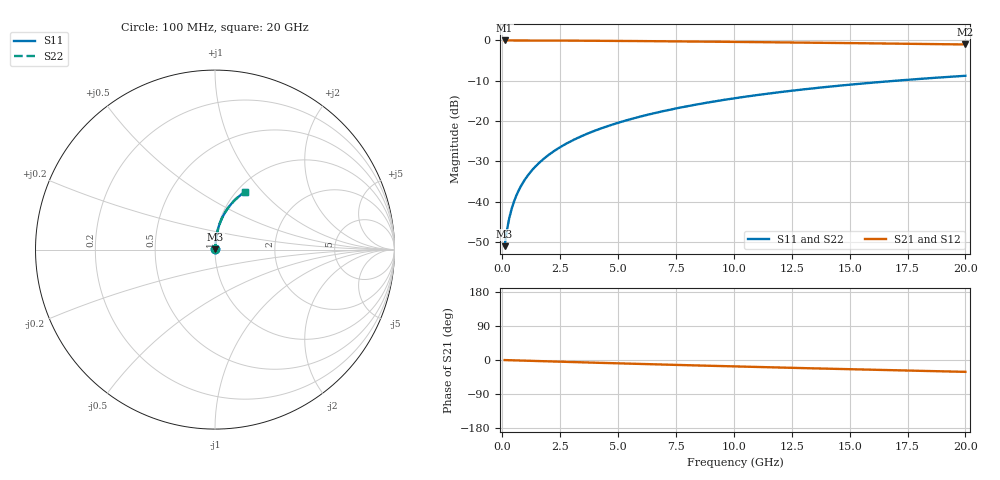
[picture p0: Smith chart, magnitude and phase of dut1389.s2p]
! Touchstone file exported from HFSS 2024.1.0
!  File:  C:/UserFiles/LocalFiles/RDL_TSV_Batchsim/temp_RDL_bottom_1389_1780371954.aedt
!  Generated:  11:48:54 AM Jun  2, 2026
!  Design:  RDL_bottom
!  Project:  temp_RDL_bottom_1389_1780371954
!  Setup:  Setup1
!  Solution:  Sweep
! Variables:
!  dtsv = 10.80580581um
!  hbump = 3um
!  htsv = 86.78um
!  ldown = 367.04um
!  lrdl = 100um
!  p = 40
!  p1 = 59.56um
!  rhole = 1um
!  t = 450um
!  tdown = 4.26um
!  trdl = 3.915915916um
!  wdown = 16.5um
!  wrdl = 20um
# GHz S MA R 50.000000
! Terminal data exported
! Port[1] = RDL1_T1
! Port[2] = RDL1_T2
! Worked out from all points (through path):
!   200 points, 100 MHz to 20 GHz, reference 50 ohm
!   highest |S21| = -0.02 dB at 100 MHz (marker M1); lowest = -1.0 dB at 20 GHz (marker M2)
!   group delay of S21, straight-line fit = 4.32 ps
!   lowest |S11| = -51.1 dB at 100 MHz (marker M3), VSWR 1.01, Z = 50.2 + j0.197 ohm
!   |S11| at or under -10 dB: start of sweep to 17.02 GHz
!   |S22| runs from -51.1 to -8.8 dB; largest |S21 - S12| = 2.6e-15
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0.1  0.002792 44.8  0.998 -0.2  0.998 -0.2  0.002792 44.8
! Gamma 0 0 0 0
! Port Impedance 50 0 50 0
0.2  0.004413 62.5  0.9979 -0.4  0.9979 -0.4  0.004413 62.5
0.3  0.006211 70.1  0.9979 -0.6  0.9979 -0.6  0.00621 70.1
0.4  0.008048 74.2  0.9978 -0.7  0.9978 -0.7  0.008048 74.2
0.5  0.009895 76.7  0.9977 -0.9  0.9977 -0.9  0.009895 76.7
0.7  0.01359 79.6  0.9975 -1.3  0.9975 -1.3  0.01359 79.6
0.8  0.01545 80.6  0.9974 -1.5  0.9974 -1.5  0.01545 80.6
1  0.01916 81.9  0.9971 -1.8  0.9971 -1.8  0.01916 81.9
1.2  0.02288 82.8  0.9969 -2.2  0.9969 -2.2  0.02288 82.8
1.4  0.02662 83.3  0.9966 -2.5  0.9966 -2.5  0.02662 83.3
1.7  0.03223 83.9  0.996 -3.1  0.996 -3.1  0.03223 83.9
2  0.03787 84.2  0.9954 -3.6  0.9954 -3.6  0.03787 84.2
2.7  0.05107 84.3  0.9936 -4.8  0.9936 -4.8  0.05107 84.3
3.5  0.06623 84.0  0.9911 -6.2  0.9911 -6.2  0.06623 84.0
4.2  0.07957 83.5  0.9884 -7.5  0.9884 -7.5  0.07957 83.5
5  0.09488 82.8  0.985 -8.8  0.985 -8.8  0.09488 82.8
6.8  0.1295 80.8  0.9762 -11.8  0.9762 -11.8  0.1295 80.8
8.4  0.1602 78.8  0.9674 -14.4  0.9674 -14.4  0.1602 78.8
10.1  0.1926 76.5  0.9573 -17.0  0.9573 -17.0  0.1926 76.5
13.4  0.2536 71.7  0.9363 -22.0  0.9363 -22.0  0.2536 71.7
16.7  0.3109 67.0  0.9137 -26.7  0.9137 -26.7  0.3109 67.0
20  0.3637 62.4  0.8899 -31.2  0.8899 -31.2  0.3637 62.4
